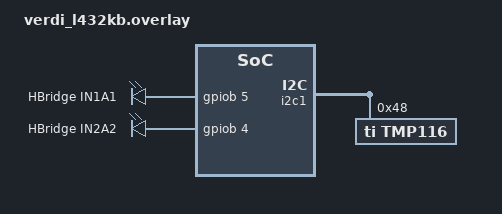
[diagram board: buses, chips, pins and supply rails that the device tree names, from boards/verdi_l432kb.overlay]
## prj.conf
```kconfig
CONFIG_STDOUT_CONSOLE=y
CONFIG_GPIO=y
CONFIG_I2C=y
CONFIG_SENSOR=y
CONFIG_TMP116=y
```

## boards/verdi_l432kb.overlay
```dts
&i2c1 {
	status = "okay";
	ti_tmp116: ti_tmp116@48 {
		compatible = "ti,tmp116";
		reg = <0x48>;
		status = "okay";
		label = "TMP116";
	};
};
/ {
	hbridge {
		compatible = "gpio-leds";
		out1_in1: in1_a1 {
			gpios = <&gpiob 5 GPIO_ACTIVE_HIGH>;
			label = "HBridge IN1A1";
		};
		out1_in2: in2_a2 {
			gpios = <&gpiob 4 GPIO_ACTIVE_HIGH>;
			label = "HBridge IN2A2";
		};
	};
};
```

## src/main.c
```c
/*
 * Copyright (c) 2019 Centaur Analytics, Inc
 *
 * SPDX-License-Identifier: Apache-2.0
 */

#include <zephyr.h>
#include <device.h>
#include <drivers/sensor.h>
#include <drivers/i2c.h>
#include <drivers/gpio.h>
#include <sys/printk.h>
#include <sys/__assert.h>
#include <sys/byteorder.h>

/* 1000 msec = 1 sec */
#define SLEEP_TIME_MS   1000

/* The devicetree node identifier for the "led0" alias. */
#define LED0_NODE 	DT_ALIAS(led0)
#define LED0		DT_GPIO_LABEL(LED0_NODE, gpios)
#define LED0_PIN	DT_GPIO_PIN(LED0_NODE, gpios)
#define LED0_FLAGS	DT_GPIO_FLAGS(LED0_NODE, gpios)

#define OUT1IN1_NODE 	DT_NODELABEL(out1_in1)
#define OUT1IN1		DT_GPIO_LABEL(OUT1IN1_NODE, gpios)
#define OUT1IN1_PIN	DT_GPIO_PIN(OUT1IN1_NODE, gpios)
#define OUT1IN1_FLAGS	DT_GPIO_FLAGS(OUT1IN1_NODE, gpios)

#define OUT1IN2_NODE 	DT_NODELABEL(out1_in2)
#define OUT1IN2		DT_GPIO_LABEL(OUT1IN2_NODE, gpios)
#define OUT1IN2_PIN	DT_GPIO_PIN(OUT1IN2_NODE, gpios)
#define OUT1IN2_FLAGS	DT_GPIO_FLAGS(OUT1IN2_NODE, gpios)

/* Delay roughly in 100 ms */
#define DELAY_A 5000
#define DELAY_B DELAY_A + 50

// Zephyr Sensor Def
#define TMP117_0x48 true
#define I2C_DEV DT_LABEL(DT_ALIAS(i2c))

// Custom Driver Addresses
#define TMP117_RESOLUTION 78125
#define TMP117_ADDR 	0x49
#define TEMP_RSLT 	0x00
#define TEMP_CFG  	0x01
#define TEMP_THighLimit 0x02
#define TEMP_TLowLimit  0x03
#define TEMP_EEPROM_UL  0x04
#define TEMP_EEPROM1  	0x05
#define TEMP_EEPROM2  	0x06
#define TEMP_OFFSET  	0x07
#define TEMP_EEPROM3  	0x08
#define TEMP_DEVID  	0x0F

// Custom Driver Commands
// -- Configuration
#define CC_MOD 		0 << 10
#define SD_MOD 		1 << 10
#define OS_MOD 		3 << 10
#define CONVERSION	0 << 7
#define AVG             0 << 5
#define Therm_Alert     1 << 4
#define POL             0 << 3
#define Alert_Sel       0 << 2
#define RST    		1 << 1
// -- High Limit
// -- Low Limit
// -- EEPROM
// -- OFFSET
#define OFFSET		0
uint8_t tx_byte;
uint8_t rx_bytes[6];
int16_t serial_num;
int16_t temp;
const struct device *i2c;
int code;
int counter;
struct i2c_slave_config tmp117_config;

void main(void)
{
	int length;
	int32_t tmp;
	int32_t heat_sig=0;
	int32_t millis_time;
	const struct device *dev;
	const struct device *led_pin;
	const struct device *out1_in1;
	const struct device *out1_in2;
	struct sensor_value temp_value;
	struct sensor_value offset_value;

        bool led_is_on = true;
        int ret;   
//-- LED
        led_pin = device_get_binding(LED0);
        if (led_pin == NULL) {
                return;
        }

        ret = gpio_pin_configure(led_pin, LED0_PIN, GPIO_OUTPUT_ACTIVE | LED0_FLAGS);
        if (ret < 0) {
                return;
        }
//-- out1_in1
	out1_in1 = device_get_binding(OUT1IN1);
	if (out1_in1 == NULL) {
		return;
	}

	ret = gpio_pin_configure(out1_in1, OUT1IN1_PIN, GPIO_OUTPUT_ACTIVE | OUT1IN1_FLAGS);
	if (ret < 0) {
		return;
	}
//-- out1_in2
	out1_in2 = device_get_binding(OUT1IN2);
	if (out1_in2 == NULL) {
		return;
	}

	ret = gpio_pin_configure(out1_in2, OUT1IN2_PIN, GPIO_OUTPUT_ACTIVE | OUT1IN2_FLAGS);
	if (ret < 0) {
		return;
	}
	gpio_pin_set(out1_in1, OUT1IN1_PIN, false);
	gpio_pin_set(out1_in2, OUT1IN2_PIN, false);

//-- I2C Device
	i2c = device_get_binding(I2C_DEV);
        code = i2c_burst_read(i2c, TMP117_ADDR, TEMP_DEVID, &serial_num, 2);
        __ASSERT(code == 0, "ERROR: i2c_read, exit with code %u\n", code);
	if(TMP117_0x48){
		dev = device_get_binding(DT_LABEL(DT_INST(0, ti_tmp116)));
		__ASSERT(dev != NULL, "Failed to get TMP116 device binding");
		printk("Device %s - %p is ready\n", dev->name, dev);
		offset_value.val1 = 0;
		offset_value.val2 = 0;
		ret = sensor_attr_set(dev, SENSOR_CHAN_AMBIENT_TEMP,
			      	SENSOR_ATTR_OFFSET, &offset_value);
		if (ret) {
			printk("sensor_attr_set failed ret = %d\n", ret);
			printk("SENSOR_ATTR_OFFSET is only supported by TMP117\n");
		}
	}
	counter = 0;
	while (1) {
		if(counter == DELAY_A){
        		gpio_pin_set(led_pin, LED0_PIN, true);
			gpio_pin_set(out1_in2, OUT1IN2_PIN, true);
			heat_sig = 100;
		}
		else if(counter == DELAY_B){
			millis_time=k_uptime_get_32();
        		gpio_pin_set(led_pin, LED0_PIN, false);
			gpio_pin_set(out1_in2, OUT1IN2_PIN, false);
			heat_sig = 0;
			counter = 0;
		}
        	code = i2c_burst_read(i2c, TMP117_ADDR, TEMP_RSLT, &temp, 2);
        	__ASSERT(code == 0, "ERROR: i2c_read, exit with code %u\n", code);
		temp = sys_be16_to_cpu(temp);
		tmp = ((int16_t)temp * (int32_t)TMP117_RESOLUTION) / 10;
		if(TMP117_0x48){
			ret = sensor_sample_fetch(dev);
			if (ret) {
				printk("Failed to fetch measurements (%d)\n", ret);
				return;
			}

			ret = sensor_channel_get(dev, SENSOR_CHAN_AMBIENT_TEMP,
					 &temp_value);
			if (ret) {
				printk("Failed to get measurements (%d)\n", ret);
				return;
			}
		}
		printk("%d.%d %d\n", temp_value.val1, temp_value.val2, heat_sig);
		counter++;
		k_msleep(10); // 1 doesn't work for some reason
	}
}
```
